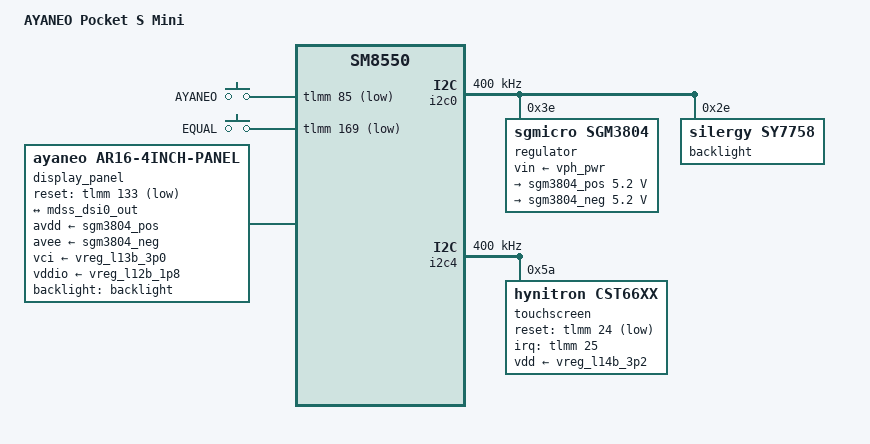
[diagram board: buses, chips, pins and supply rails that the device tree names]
// SPDX-License-Identifier: BSD-3-Clause
/*
 * AYANEO Pocket S Mini hardware description.
 *
 * Panel timing, GPIO assignments and touchscreen wiring are derived from a
 * live stock Android device-tree dump from the target hardware.
 */

/dts-v1/;

#include "qcs8550-ayaneo-pocket-common.dtsi"

/ {
	model = "AYANEO Pocket S Mini";
	qcom,board-id = <0x1000b 0x01>;
	qcom,msm-id = <0x258 0x20000>, <0x259 0x20000>;
	compatible = "ayaneo,pocket-s-mini", "qcom,qcs8550", "qcom,sm8550";
	chassis-type = "handset";

	gpio-keys-pocket-s-mini {
		compatible = "gpio-keys";
		label = "gpio-keys-pocket-s-mini";
		pinctrl-names = "default";
		pinctrl-0 = <&pocketsmini_buttons>;

		key-ayaneo {
			label = "AYANEO";
			gpios = <&tlmm 85 GPIO_ACTIVE_LOW>;
			linux,code = <KEY_A>;
			debounce-interval = <15>;
			linux,can-disable;
		};

		key-equal {
			label = "EQUAL";
			gpios = <&tlmm 169 GPIO_ACTIVE_LOW>;
			linux,code = <KEY_EQUAL>;
			debounce-interval = <15>;
			linux,can-disable;
		};
	};
};

&tlmm {
	pocketsmini_buttons: pocketsmini-buttons-state {
		pins = "gpio85", "gpio169";
		function = "gpio";
		drive-strength = <2>;
		bias-pull-up;
		input-enable;
	};

	panel_pwr_active: panel-pwr-active-state {
		pins = "gpio72", "gpio42", "gpio152", "gpio153";
		function = "gpio";
		drive-strength = <8>;
		bias-disable;
		output-high;
	};

	panel_pwr_sleep: panel-pwr-sleep-state {
		pins = "gpio72", "gpio42", "gpio152", "gpio153";
		function = "gpio";
		output-low;
	};

	backlight_pwr_active: backlight-pwr-active-state {
		pins = "gpio41";
		function = "gpio";
		drive-strength = <8>;
		bias-disable;
		output-high;
	};

	backlight_pwr_sleep: backlight-pwr-sleep-state {
		pins = "gpio41";
		function = "gpio";
		output-low;
	};

	ts_irq: ts-irq-state {
		pins = "gpio25";
		function = "gpio";
		drive-strength = <8>;
		bias-disable;
		input-enable;
	};

	ts_reset: ts-reset-state {
		pins = "gpio24";
		function = "gpio";
		drive-strength = <8>;
		bias-pull-up;
		output-high;
	};
};

&i2c0 {
	clock-frequency = <400000>;
	status = "okay";

	/* Screen power */
	regulator@3e {
		compatible = "sgmicro,sgm3804";
		reg = <0x3e>;
		pinctrl-0 = <&panel_pwr_active>;
		pinctrl-1 = <&panel_pwr_sleep>;
		pinctrl-names = "default", "sleep";

		vin-supply = <&vph_pwr>;

		sgm3804_pos: pos {
			regulator-name = "panel-avdd";
			regulator-min-microvolt = <5200000>;
			regulator-max-microvolt = <5200000>;
			regulator-active-discharge = <1>;
			regulator-boot-on;
			enable-gpios = <&tlmm 152 GPIO_ACTIVE_HIGH>;
		};

		sgm3804_neg: neg {
			regulator-name = "panel-avee";
			regulator-min-microvolt = <5200000>;
			regulator-max-microvolt = <5200000>;
			regulator-active-discharge = <1>;
			regulator-boot-on;
			enable-gpios = <&tlmm 153 GPIO_ACTIVE_HIGH>;
		};
	};

	backlight: sy7758@2e {
		compatible = "silergy,sy7758";
		reg = <0x2e>;
		pinctrl-0 = <&backlight_pwr_active>;
		pinctrl-1 = <&backlight_pwr_sleep>;
		pinctrl-names = "default", "sleep";
		status = "okay";
	};
};

&i2c4 {
	clock-frequency = <400000>;
	status = "okay";

	touchscreen@5a {
		compatible = "hynitron,cst66xx";
		reg = <0x5a>;

		interrupt-parent = <&tlmm>;
		interrupts = <25 IRQ_TYPE_EDGE_FALLING>;
		reset-gpios = <&tlmm 24 GPIO_ACTIVE_LOW>;
		vdd-supply = <&vreg_l14b_3p2>;

		touchscreen-size-x = <1280>;
		touchscreen-size-y = <960>;

		pinctrl-names = "default";
		pinctrl-0 = <&ts_reset>, <&ts_irq>;
	};
};

&pcieport0 {
	wifi@0 {
		qcom,skip-11d-scan-offload;
	};
};

&mdss_dsi0_out {
	remote-endpoint = <&panel0_in>;
	data-lanes = <0 1 2 3>;
};

&display_panel {
	compatible = "ayaneo,ar16-4inch-panel";

	avdd-supply = <&sgm3804_pos>;
	avee-supply = <&sgm3804_neg>;
	vci-supply = <&vreg_l13b_3p0>;
	vddio-supply = <&vreg_l12b_1p8>;

	backlight = <&backlight>;
	reset-gpios = <&tlmm 133 GPIO_ACTIVE_LOW>;
	rotation = <180>;

	port {
		panel0_in: endpoint {
			remote-endpoint = <&mdss_dsi0_out>;
		};
	};
};
